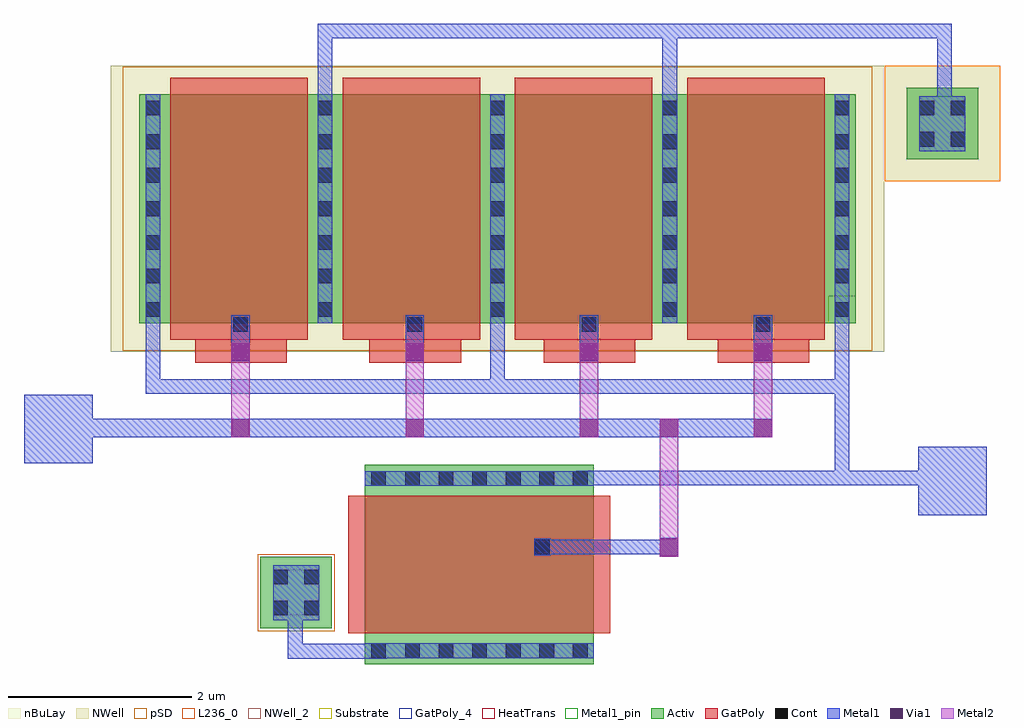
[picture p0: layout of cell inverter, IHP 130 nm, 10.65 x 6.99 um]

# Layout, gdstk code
from math import pi, radians
import gdstk
lib = gdstk.Library(unit=1e-6, precision=1e-09)
def R(c, l, rs):  # rectangles x0, y0, x1, y1
    for r in rs: c.add(gdstk.rectangle(r[:2], r[2:], *l))
def A(c, l, x, y, w, h, nx, ny, dx, dy):  # array of equal rectangles
    R(c, l, [(x+i*dx, y+j*dy, x+i*dx+w, y+j*dy+h) for i in range(nx) for j in range(ny)])
Activ = (1, 0)
GatPoly = (5, 0)
GatPoly_4 = (5, 4)
Cont = (6, 0)
Metal1 = (8, 0)
Metal1_pin = (8, 2)
Metal2 = (10, 0)
pSD = (14, 0)
Via1 = (19, 0)
NWell = (31, 0)
NWell_2 = (31, 2)
nBuLay = (32, 0)
Substrate = (40, 0)
HeatTrans = (51, 0)
L236_0 = (236, 0)

ptap1 = lib.new_cell('ptap1')
R(ptap1, Activ, [(-0.365,0.91,0.415,1.69)])
R(ptap1, Cont, [(-0.225,1.05,-0.065,1.21), (0.115,1.05,0.275,1.21), (-0.225,1.39,-0.065,1.55), (0.115,1.39,0.275,1.55)])
R(ptap1, Metal1, [(-0.225,1,0.275,1.6)])
R(ptap1, Metal1_pin, [(-0.225,1.05,0.275,1.55)])
R(ptap1, pSD, [(-0.395,0.88,0.445,1.72)])
R(ptap1, Substrate, [(-0.365,0.91,0.415,1.69)])
ptap1.add(gdstk.Label('sub!', (0.025,0.92), layer=63, texttype=0))

ntap1 = lib.new_cell('ntap1')
R(ntap1, Activ, [(0,0,0.78,0.78)])
R(ntap1, Cont, [(0.14,0.14,0.3,0.3), (0.48,0.14,0.64,0.3), (0.14,0.48,0.3,0.64), (0.48,0.48,0.64,0.64)])
R(ntap1, Metal1, [(0.14,0.09,0.64,0.69)])
R(ntap1, Metal1_pin, [(0.14,0.09,0.64,0.69)])
R(ntap1, NWell, [(-0.24,-0.24,1.02,1.02)])
R(ntap1, NWell_2, [(0,0,0.78,0.78)])
R(ntap1, nBuLay, [(-0.24,-0.24,1.02,1.02)])
R(ntap1, L236_0, [(-0.24,-0.24,1.02,1.02)])
ntap1.add(gdstk.Label('well', (0.39,0), layer=63, texttype=0))
ntap1.add(gdstk.Label('[@instanceName]', (0.39,0.39), layer=236, texttype=1))

nmos_2 = lib.new_cell('nmos$2')
R(nmos_2, Activ, [(0,0,0.3,0.3), (0,0,2.18,2.5), (1.88,0,2.18,0.3)])
R(nmos_2, GatPoly, [(0.34,-0.18,1.84,2.68)])
R(nmos_2, GatPoly_4, [(0.34,-0.18,1.84,2.68)])
A(nmos_2, Cont, 0.07, 0.07, 0.16, 0.16, 1, 3, 0, 0.365)
A(nmos_2, Cont, 1.95, 0.07, 0.16, 0.16, 1, 3, 0, 0.365)
A(nmos_2, Cont, 0.07, 1.17, 0.16, 0.16, 1, 3, 0, 0.365)
A(nmos_2, Cont, 1.95, 1.17, 0.16, 0.16, 1, 3, 0, 0.365)
R(nmos_2, Cont, [(0.07,2.27,0.23,2.43), (1.95,2.27,2.11,2.43)])
R(nmos_2, Metal1, [(0.07,0,0.23,2.5), (1.95,0,2.11,2.5)])
R(nmos_2, Metal1_pin, [(0.07,0,0.23,2.5), (1.95,0,2.11,2.5)])
R(nmos_2, HeatTrans, [(0.34,-0.18,1.84,2.68)])
nmos_2.add(gdstk.Label('nmos', (1.09,1.25), layer=51, texttype=0))

pmos_1 = lib.new_cell('pmos$1')
A(pmos_1, Activ, 0, 0, 0.3, 0.3, 5, 1, 1.88, 0)
R(pmos_1, Activ, [(0,0,7.82,2.5)])
A(pmos_1, GatPoly, 0.34, -0.18, 1.5, 2.86, 4, 1, 1.88, 0)
A(pmos_1, Cont, 0.07, 0.07, 0.16, 0.16, 5, 3, 1.88, 0.365)
A(pmos_1, Cont, 0.07, 1.17, 0.16, 0.16, 5, 3, 1.88, 0.365)
A(pmos_1, Cont, 0.07, 2.27, 0.16, 0.16, 5, 1, 1.88, 0)
A(pmos_1, Metal1, 0.07, 0, 0.16, 2.5, 5, 1, 1.88, 0)
R(pmos_1, pSD, [(-0.18,-0.3,8,2.8)])
R(pmos_1, NWell, [(-0.31,-0.31,8.13,2.81)])
R(pmos_1, Substrate, [(7.52,0,7.82,0.3)])
A(pmos_1, HeatTrans, 0.34, -0.18, 1.5, 2.86, 4, 1, 1.88, 0)
pmos_1.add(gdstk.Label('pmos', (1.09,1.25), layer=63, texttype=0))
pmos_1.add(gdstk.Label('pmos', (1.09,1.25), layer=51, texttype=0))
pmos_1.add(gdstk.Label('pmos', (2.97,1.25), layer=51, texttype=0))
pmos_1.add(gdstk.Label('pmos', (4.85,1.25), layer=51, texttype=0))
pmos_1.add(gdstk.Label('pmos', (6.73,1.25), layer=51, texttype=0))

inverter = lib.new_cell('inverter')
A(inverter, GatPoly, 0.13, 0.26, 1, 1, 4, 1, 1.9, 0)
A(inverter, Cont, 0.545, 0.6, 0.16, 0.16, 4, 1, 1.9, 0)
R(inverter, Cont, [(3.84,-1.83,4,-1.67)])
A(inverter, Metal1, 0.525, 0.28, 0.2, 0.5, 4, 1, 1.9, 0)
R(inverter, Metal1, [(5.2,-1.855,5.4,-1.645), (3.83,-1.84,4.01,-1.66), (8.017,-1.404,8.767,-0.654), (-1.739,-0.836,-0.989,-0.086)])
A(inverter, Via1, 0.53, -0.545, 0.19, 0.19, 3, 1, 1.9, 0)
A(inverter, Via1, 0.53, 0.29, 0.19, 0.19, 4, 1, 1.9, 0)
R(inverter, Via1, [(5.205,-1.85,5.395,-1.66), (5.205,-0.545,5.395,-0.355), (6.23,-0.545,6.42,-0.355)])
R(inverter, NWell, [(7.17,2.32,8.425,3.5)])
inverter.add(gdstk.FlexPath([(1.22,-2.885),(2.22,-2.885)], 0.16, ends="flush", simple_path=True, layer=8, datatype=0))  # Metal1
inverter.add(gdstk.FlexPath([(-0.332,0.003),(7.186,0.003)], 0.16, ends="flush", simple_path=True, layer=8, datatype=0))  # Metal1
inverter.add(gdstk.FlexPath([(1.22,-2.965),(1.22,-2.355)], 0.16, ends="flush", simple_path=True, layer=8, datatype=0))  # Metal1
inverter.add(gdstk.FlexPath([(5.4,-1.75),(3.845,-1.75)], 0.16, ends="flush", simple_path=True, layer=8, datatype=0))  # Metal1
inverter.add(gdstk.FlexPath([(7.187,0.003),(7.185,-0.995)], 0.16, ends="flush", simple_path=True, layer=8, datatype=0))  # Metal1
inverter.add(gdstk.FlexPath([(4.288,-0.997),(7.266,-0.997)], 0.16, ends="flush", simple_path=True, layer=8, datatype=0))  # Metal1
inverter.add(gdstk.FlexPath([(5.788,-0.997),(8.766,-0.997)], 0.16, ends="flush", simple_path=True, layer=8, datatype=0))  # Metal1
inverter.add(gdstk.FlexPath([(6.425,-0.45),(-1.515,-0.45)], 0.2, ends="flush", simple_path=True, layer=8, datatype=0))  # Metal1
inverter.add(gdstk.FlexPath([(1.547,3.883),(5.307,3.883)], 0.16, ends="flush", simple_path=True, layer=8, datatype=0))  # Metal1
inverter.add(gdstk.FlexPath([(-0.333,0.923),(-0.333,-0.077)], 0.16, ends="flush", simple_path=True, layer=8, datatype=0))  # Metal1
inverter.add(gdstk.FlexPath([(3.427,0.923),(3.427,-0.077)], 0.16, ends="flush", simple_path=True, layer=8, datatype=0))  # Metal1
inverter.add(gdstk.FlexPath([(7.187,0.923),(7.187,-0.077)], 0.16, ends="flush", simple_path=True, layer=8, datatype=0))  # Metal1
inverter.add(gdstk.FlexPath([(1.547,3.963),(1.547,2.963)], 0.16, ends="flush", simple_path=True, layer=8, datatype=0))  # Metal1
inverter.add(gdstk.FlexPath([(5.307,3.963),(5.307,2.963)], 0.16, ends="flush", simple_path=True, layer=8, datatype=0))  # Metal1
inverter.add(gdstk.FlexPath([(5.225,3.88),(8.305,3.88),(8.305,2.88)], 0.16, ends="flush", simple_path=True, layer=8, datatype=0))  # Metal1
inverter.add(gdstk.FlexPath([(5.3,-0.35),(5.3,-1.855)], 0.2, ends="flush", simple_path=True, layer=10, datatype=0))  # Metal2
inverter.add(gdstk.FlexPath([(0.625,0.48),(0.625,-0.55)], 0.2, ends="flush", simple_path=True, layer=10, datatype=0))  # Metal2
inverter.add(gdstk.FlexPath([(2.525,0.48),(2.525,-0.55)], 0.2, ends="flush", simple_path=True, layer=10, datatype=0))  # Metal2
inverter.add(gdstk.FlexPath([(4.425,0.48),(4.425,-0.55)], 0.2, ends="flush", simple_path=True, layer=10, datatype=0))  # Metal2
inverter.add(gdstk.FlexPath([(6.325,0.48),(6.325,-0.55)], 0.2, ends="flush", simple_path=True, layer=10, datatype=0))  # Metal2
inverter.add(gdstk.Reference(ptap1, (1.205,-3.545)))
inverter.add(gdstk.Reference(ntap1, (7.89,2.48)))
inverter.add(gdstk.Reference(nmos_2, (4.48,-3.03), rotation=pi/2))
inverter.add(gdstk.Reference(pmos_1, (-0.483,0.693)))

lib.write_gds('inverter.gds')
